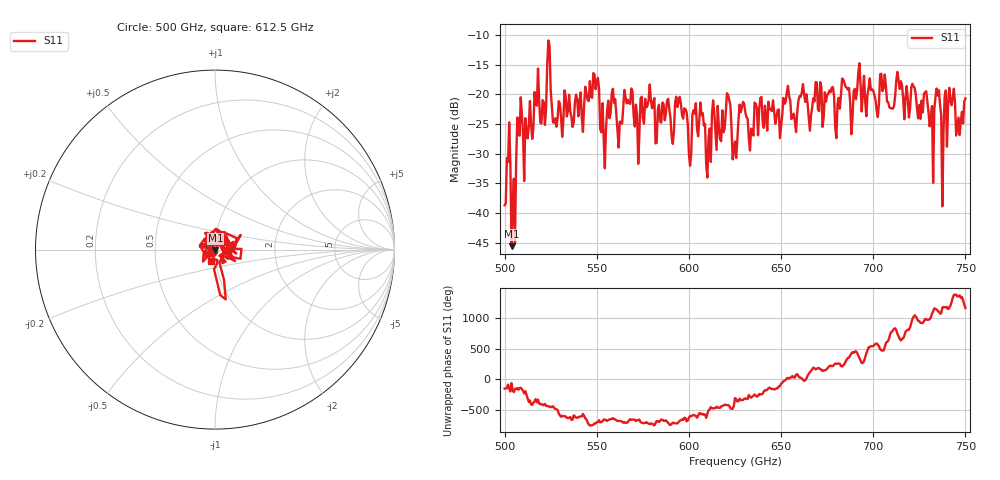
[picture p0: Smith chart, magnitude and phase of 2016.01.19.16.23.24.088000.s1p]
!Created with skrf (http://scikit-rf.org).
# GHz S RI R 50.0
!freq ReS11 ImS11
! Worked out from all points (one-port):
!   401 points, 500 GHz to 750 GHz, reference 50 ohm
!   lowest |S11| = -45.5 dB at 503.8 GHz (marker M1), VSWR 1.01, Z = 50.3 - j0.462 ohm
!   |S11| at or under -10 dB: start of sweep to end of sweep
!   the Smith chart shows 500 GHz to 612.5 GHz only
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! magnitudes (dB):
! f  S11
! 500 GHz  -38.7
! 503.8 GHz  -45.5
! 505 GHz  -34.2
! 508.1 GHz  -27.0
! 520.6 GHz  -21.0
! 523.8 GHz  -10.9
! 526.9 GHz  -24.8
! 531.2 GHz  -27.2
! 549.4 GHz  -19.1
! 553.1 GHz  -21.5
! 558.8 GHz  -19.1
! 562.5 GHz  -24.6
! 593.8 GHz  -22.1
! 600 GHz  -30.0
! 607.5 GHz  -23.2
! 610.6 GHz  -27.4
! 621.2 GHz  -20.1
! 625 GHz  -27.9
! 628.8 GHz  -22.1
! 633.8 GHz  -25.8
! 656.2 GHz  -23.9
! 687.5 GHz  -21.4
! 718.8 GHz  -20.8
! 731.2 GHz  -24.0
! 735 GHz  -20.2
! 738.8 GHz  -20.4
! 742.5 GHz  -21.8
! 750 GHz  -20.7
